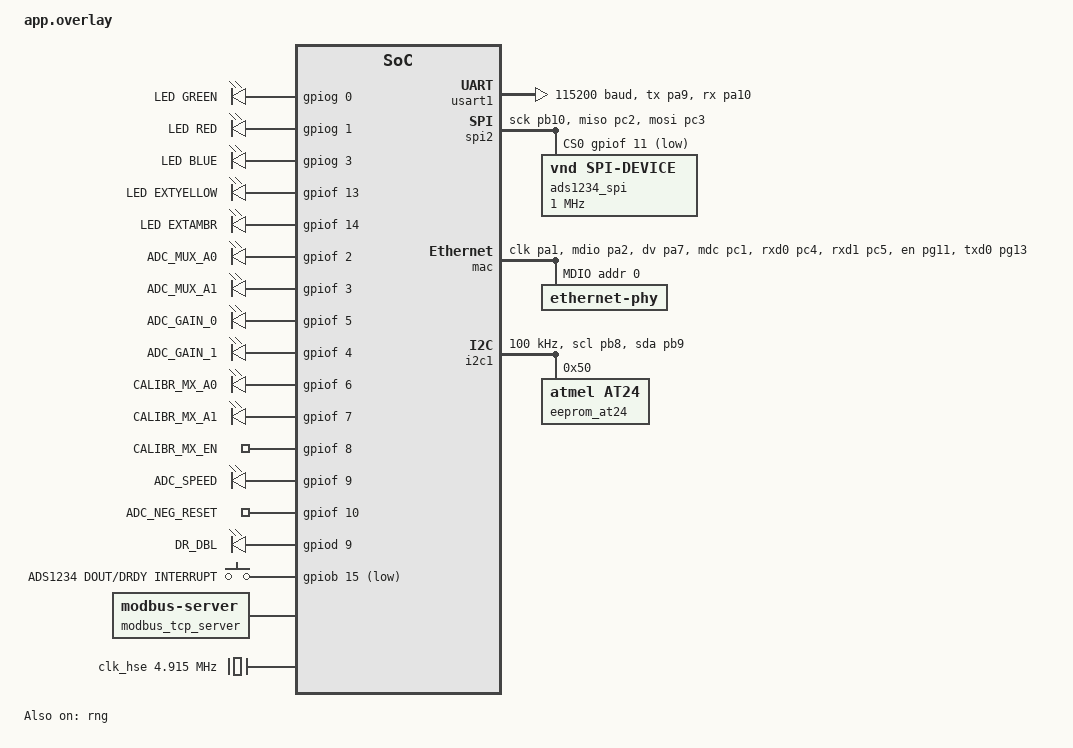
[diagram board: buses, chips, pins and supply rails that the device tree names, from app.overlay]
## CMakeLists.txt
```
# SPDX-License-Identifier: Apache-2.0
#cmake_minimum_required(VERSION 3.20.0)
#find_package(Zephyr REQUIRED HINTS $ENV{ZEPHYR_BASE})
#project(blinky)
#target_sources(app PRIVATE src/main.c)


cmake_minimum_required(VERSION 3.20.0)
# Указываем плату по умолчанию для этого проекта
set(BOARD nucleo_f756zg)
find_package(Zephyr REQUIRED HINTS $ENV{ZEPHYR_BASE})
project(HallFM)
#target_sources(app PRIVATE src/main.c)
target_sources(app PRIVATE
    src/main.cpp
    src/board_devs.cpp
 #   src/leds/leds.c
    src/leds/gpo.cpp
    src/adc/ads1234.cpp
    src/adc/adc_sequencer.cpp
    src/time/uni_time.cpp
    src/modbus/mbs.cpp
    src/console/console.cpp
    src/mem/mem.cpp
)
# Добавляем ПАПКИ к хидерам, а не сами файлы!
target_include_directories(app PRIVATE 
    src              # Здесь лежит board_devs.hpp
    src/leds         # Здесь лежат leds.h и gpo.hpp
    src/adc          # Здесь лежит adc.hpp
    src/time
    src/modbus
    src/console
    src/mem
)
```

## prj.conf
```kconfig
#prj.cjnf v7stabil-260902
CONFIG_SPI=y
CONFIG_SPI_STM32=y
CONFIG_PINCTRL=y
CONFIG_DMA=y
CONFIG_SPI_ASYNC=y

CONFIG_SERIAL=y
CONFIG_CONSOLE=y
CONFIG_UART_CONSOLE=y

# Включаем подсистему высокоуровневого ввода
CONFIG_CONSOLE_SUBSYS=y
CONFIG_CONSOLE_GETLINE=y

# Включаем сетевую подсистему и драйвер Ethernet stm32
#

#CONFIG_NET_L2_ETHERNET=y
#CONFIG_ETH_STM32_HAL=y
# Базовые настройки IP-стека
#CONFIG_NETWORKING=y
#CONFIG_NET_IPV4=y
#CONFIG_NET_TCP=y


# Базовые настройки IP-стека
CONFIG_NETWORKING=y
CONFIG_NET_L2_ETHERNET=y
CONFIG_ETH_STM32_HAL=y
CONFIG_NET_IPV4=y
CONFIG_NET_TCP=y

# ВКЛЮЧАЕМ DHCPv4
CONFIG_NET_DHCPV4=y
# Переводим менеджер сетевой конфигурации в автоматический режим
CONFIG_NET_CONFIG_SETTINGS=y

# Запрещаем Zephyr использовать статические тестовые IP-адреса по умолчанию (192.0.2.1)
CONFIG_NET_CONFIG_MY_IPV4_ADDR=""
CONFIG_NET_CONFIG_PEER_IPV4_ADDR=""

# 1. Включаем общую поддержку текстовых имен для платы
CONFIG_NET_HOSTNAME_ENABLE=y
CONFIG_NET_HOSTNAME="hallm00"

# 2. Активируем Подход 3: заставляем DHCP-клиент передавать это имя роутеру
#CONFIG_NET_DHCPV4_OPTION_HOSTNAME=y

# 3. Активируем Подход 2: включаем службу mDNS (multicast DNS)
CONFIG_MDNS_RESPONDER=y

# Включаем менеджер сетевых интерфейсов и событий (нужен для отслеживания IP)
#CONFIG_NET_MGMT=y
#CONFIG_NET_MGMT_EVENT=y


# Эти параметры статического IP больше НЕ НУЖНЫ, удаляем или комментируем их:
# CONFIG_NET_CONFIG_SETTINGS=n
#
# Статический IP (удобно для тестов Modbus)
#CONFIG_NET_CONFIG_SETTINGS=y
#CONFIG_NET_CONFIG_NEED_IPV4=y
#CONFIG_NET_CONFIG_MY_IPV4_ADDR="192.168.1.97"
#CONFIG_NET_CONFIG_MY_IPV4_NETMASK="255.255.255.0"

# Включаем подсистему энтропии и драйвер аппаратного RNG STM32
CONFIG_ENTROPY_GENERATOR=y
CONFIG_ENTROPY_STM32_RNG=y

# Разрешаем сетевому стеку использовать генератор случайных чисел
CONFIG_TEST_RANDOM_GENERATOR=n


# Проверяем, что Modbus сконфигурирован правильно под сетевой стек
#CONFIG_MODBUS_RAW_ADU=y
#==
# 1. Защита драйвера STM32 Ethernet (выделяем больше аппаратных буферов)
#CONFIG_ETH_STM32_HAL_RX_BUFFERS=8
#CONFIG_ETH_STM32_HAL_TX_BUFFERS=8
# Включаем сетевые буферы и увеличиваем их количество под TCP
CONFIG_NET_PKT_RX_COUNT=64
CONFIG_NET_PKT_TX_COUNT=32

CONFIG_NET_BUF_RX_COUNT=160
CONFIG_NET_BUF_TX_COUNT=64

CONFIG_NET_BUF_DATA_SIZE=128


# 3. Настройка очистки памяти (КРИТИЧЕСКИ ВАЖНО)
# Ускоряем уничтожение закрытых контекстов сокетов, чтобы память возвращалась в пул мгновенно
CONFIG_NET_TCP_TIME_WAIT_DELAY=500

# 4. Включаем автоматический сброс при нехватке памяти (если стек поддерживает)
CONFIG_NET_STATISTICS=y

# Максимальное число сетевых контекстов и соединений
#CONFIG_NET_MAX_CONTEXTS=8
#CONFIG_NET_MAX_CONN=8

# Максимальное число сетевых контекстов, сокетов и TCP-соединений
CONFIG_NET_MAX_CONTEXTS=16
CONFIG_NET_MAX_CONN=16
# Максимальное число сетевых контекстов, сокетов и TCP-соединений
CONFIG_NET_MAX_CONTEXTS=16
CONFIG_NET_MAX_CONN=16
# Увеличиваем количество дескрипторов сокетов POSIX (под функции socket, accept, close)
CONFIG_NET_SOCKETS_POLL_MAX=16
CONFIG_POSIX_API=y
# Увеличиваем количество дескрипторов сокетов POSIX (под функции socket, accept, close)
CONFIG_NET_SOCKETS_POLL_MAX=16
CONFIG_POSIX_API=y


# Выделяем оперативную память под стек обработки входящих пакетов
CONFIG_NET_MGMT_EVENT_STACK_SIZE=2048
CONFIG_NET_RX_STACK_SIZE=2048


#==
# Включаем подсистему Modbus и роль сервера
CONFIG_MODBUS=y
CONFIG_MODBUS_ROLE_SERVER=y
CONFIG_MODBUS_LOG_LEVEL_DBG=y
# Исправленные конфигурации для Modbus TCP 
CONFIG_MODBUS_RAW_ADU=y
CONFIG_MODBUS_NUMOF_RAW_ADU=1


#=========
# CONFIG_MODBUS=y
# CONFIG_MODBUS_SERVER=y
# CONFIG_MODBUS_RAW_ADU=y

#=========


# Разрешить немедленно переиспользовать TCP-порт (502) после закрытия
CONFIG_NET_TCP_TIME_WAIT_DELAY=1000
# Увеличить размер приемного окна TCP (чтобы сокет мог вместить больше пакетов-повторов)
CONFIG_NET_TCP_MAX_RECV_WINDOW_SIZE=1280

# Активируем BSD-совместимый API сокетов в Zephyr
CONFIG_NET_SOCKETS=y
CONFIG_NET_SOCKETS_POSIX_NAMES=y

# Настройки системного лога
CONFIG_LOG=y
# Переводим логи в безопасный АСИНХРОННЫЙ режим (по умолчанию в Zephyr он обычно включен, но лучше зафиксировать)
CONFIG_LOG_MODE_DEFERRED=y
CONFIG_LOG_BUFFER_SIZE=2048
CONFIG_NET_LOG=n

#CONFIG_CPP=y
#CONFIG_STD_CPP17=y # Или CPP17 / CPP23 в зависимости от версии Zephyr
# Включение поддержки C++ в Zephyr RTOS
CONFIG_CPP=y

# Выбор стандарта языка (рекомендуется CPP20 для полноценной работы)
CONFIG_STD_CPP20=y

# Разрешить использование базовых функций стандартной библиотеки C++
CONFIG_GLIBCXX_LIBCPP=y

CONFIG_SHELL=y
CONFIG_NEWLIB_LIBC_FLOAT_PRINTF=y 
CONFIG_FPU=y 

# Активация подсистемы I2C и драйвера STM32
CONFIG_I2C=y
CONFIG_I2C_STM32=y

# Активация подсистемы EEPROM и универсального драймера AT24
CONFIG_EEPROM=y
CONFIG_EEPROM_AT24=y

CONFIG_CPP_EXCEPTIONS=n



# Включаем механизм TCP Keep-Alive (Крайне важно!)
# Если клиент пропал или связь моргнула, Zephyr сам проверит сокет и закроет его,
# не дожидаясь, пока буферы переполнятся.
# CONFIG_NET_TCP_KEEP_ALIVE=y
# CONFIG_NET_TCP_KEEP_ALIVE_TIMEOUT=5000
# CONFIG_NET_TCP_KEEP_ALIVE_INTERVAL=1000
# CONFIG_NET_TCP_KEEP_ALIVE_MAX_COUNT=3

# Явно задаем приоритет внутреннего потока Modbus (сделайте его высоким)
# CONFIG_MODBUS_THREAD_PRIORITY=4

# Активируем сетевой бэкенд Modbus (мост между сокетами и Modbus API)
#CONFIG_MODBUS_SERVER_NET=y

# Явно задаем порт по умолчанию (хотя 502 применится и сам)
#CONFIG_MODBUS_SERVER_PORT=502

# Включаем консоль управления (Shell) и сетевые команды
#CONFIG_SHELL=y
#CONFIG_NET_SHELL=y

# Дополнительные логи для отладки Ethernet и PHY-чипа
#CONFIG_NET_LOG=y
#CONFIG_ETHERNET_LOG_LEVEL_DBG=y










#== Console and UART
#CONFIG_CONSOLE=y
#CONFIG_CONSOLE_SUBSYS=y
#CONFIG_CONSOLE_GETCHAR=y
#CONFIG_UART_CONSOLE=y
#CONFIG_SERIAL=y
#CONFIG_UART_INTERRUPT_DRIVEN=y

#== GPIO
#CONFIG_GPIO=y

#== SPI configuration
#CONFIG_SPI=y
#CONFIG_SPI_STM32=y
#CONFIG_SPI_STM32_INTERRUPT=y
# CONFIG_SPI_CONTEXT_CS_GPIOS_OPTIONAL=y

#== Logging
#CONFIG_LOG=y
#CONFIG_LOG_MODE_IMMEDIATE=y

#== Pin control
#ONFIG_PINCTRL=y
#==
# # Добавьте в prj.conf для отладки стека
# echo "CONFIG_THREAD_STACK_INFO=y" >> prj.conf
# echo "CONFIG_INIT_STACKS=y" >> prj.conf
# echo "CONFIG_STACK_SENTINEL=y" >> prj.conf
```

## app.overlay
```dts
#include <zephyr/dt-bindings/pinctrl/stm32-pinctrl.h>
/////////-----------UART4.1952---------

/////////-----------UART4.1952---------
/* app.overlay */

/* === НАСТРОЙКА ТАКТИРОВАНИЯ (ПОД КВАРЦ 4.9152 МГц) === */
&clk_hse {
    clock-frequency = <4915200>;
    status = "okay";
};

&pll {
    div-m = <4>;           /* 4.9152 / 4 = 1.2288 MHz */
    mul-n = <320>;         /* 1.2288 * 320 = 393.216 MHz */
    div-p = <2>;           /* 393.216 / 2 = 196.608 MHz (SYSCLK) */
    div-q = <8>;           /* Значение для USB (не используется) */

    clocks = <&clk_hse>;
    status = "okay";
};

&rcc {
    clocks = <&pll>;
    clock-frequency = <196608000>; /* Итоговый SYSCLK */

    ahb-prescaler = <1>;   /* HCLK = 196.608 MHz */
    apb1-prescaler = <4>;  /* PCLK1 = 49.152 MHz */
    apb2-prescaler = <2>;  /* PCLK2 = 98.304 MHz (Тактирует ваш USART1) */
};


// === НАСТРОЙКА ПЕРИФЕРИИ И КОНСОЛИ ===

// 1. Настраиваем мультиплексирование ножек (Pin Control)
&pinctrl {
    usart1_tx_pa9: usart1_tx_pa9 {
        pinmux = <STM32_PINMUX('A', 9, AF7)>; /* PA9 как Alternate Function 7 (UART1_TX) */
    };
    usart1_rx_pa10: usart1_rx_pa10 {
        pinmux = <STM32_PINMUX('A', 10, AF7)>; /* PA10 как AF7 (UART1_RX) */
        bias-pull-up; /* Включаем подтяжку для линии RX */
    };
};

/* 2. Активируем сам UART1 и привязываем к нему пины */
&usart1 {
    status = "okay";
    current-speed = <115200>;
    pinctrl-0 = <&usart1_tx_pa9 &usart1_rx_pa10>;
    pinctrl-names = "default";
};

/* 3. Говорим Zephyr, что этот UART должен использоваться для консоли (printk) */
/ {
    chosen {
        zephyr,console = &usart1;
        zephyr,shell-uart = &usart1;
    };
};
////////////////////////////////////////////

/* Включаем DMA1 — он не помешает, так как в &spi2 мы его не привязываем */

&dma1 {
	status = "okay";
};

/* Дописываем пины ВНУТРЬ системного контроллера pinctrl */
&pinctrl {
    /* Плоский узел для тактового сигнала */
    spi2_sck_pb10: spi2_sck_pb10 {
        pinmux = <STM32_PINMUX('B', 10, AF5)>;
        drive-push-pull;
	bias-pull-down;
        slew-rate = "very-high-speed";
    };

    /* Плоский узел для входа данных (MISO) */
    spi2_miso_pc2: spi2_miso_pc2 {
        pinmux = <STM32_PINMUX('C', 2, AF5)>;
        bias-disable; /* Для входа MISO лучше выключить push-pull */
    };

    /* Плоский узел для выхода данных (MOSI) */
    spi2_mosi_pc3: spi2_mosi_pc3 {
        pinmux = <STM32_PINMUX('C', 3, AF5)>;
        drive-push-pull;
        slew-rate = "very-high-speed";
    };
};

&spi2 {
	status = "okay";

	/* МАГИЯ ЗДЕСЬ: Перечисляем все три кастомных узла через пробел! */
	/* Zephyr инициализирует их одновременно для одной шины SPI2 */
	pinctrl-0 = <&spi2_sck_pb10 &spi2_miso_pc2 &spi2_mosi_pc3>;
	pinctrl-names = "default";

	/* Ваш кастомный пин CS. Укажите ваш реальный порт/номер ножки */
	cs-gpios = <&gpiof 11 GPIO_ACTIVE_LOW>;

	ads1234_spi: ads1234_spi@0 {
		compatible = "vnd,spi-device";
		reg = <0>;
		spi-max-frequency = <1000000>;
	};
};


/* 1. Убеждаемся, что контроллер порта G включен */
&gpiof {
	status = "okay";
};

&gpiog {
	status = "okay";
};

&gpiod {
	status = "okay";
};



/ {
	 //Имя контейнера делаем тоже понятным и без префикса "my"
	status_leds {
		compatible = "gpio-leds";

		led_green: led-green {
			gpios = <&gpiog 0 GPIO_ACTIVE_HIGH>;
//			gpios = <&gpiob 0 GPIO_ACTIVE_HIGH>;
			label = "LED GREEN";
		};

		led_red: led-red {
			gpios = <&gpiog 1 GPIO_ACTIVE_HIGH>;
//			gpios = <&gpiob 7 GPIO_ACTIVE_HIGH>;
			label = "LED RED";
		};

		led_blue: led-blue {
			gpios = <&gpiog 3 GPIO_ACTIVE_HIGH>;
//			gpios = <&gpiob 14 GPIO_ACTIVE_HIGH>;
			label = "LED BLUE";
		};

		led_yellowext: led-yellowext{
			gpios = <&gpiof 13 GPIO_ACTIVE_HIGH>;
			label = "LED EXTYELLOW";
		};

		led_ambrext: led-ambrext {
			gpios = <&gpiof 14 GPIO_ACTIVE_HIGH>;
			label = "LED EXTAMBR";
		};

        ad_mx_0: ad-mx-0 {
			gpios = <&gpiof 2 GPIO_ACTIVE_HIGH>;
			label = "ADC_MUX_A0";
		};

        ad_mx_1: ad-mx-1 {
			gpios = <&gpiof 3 GPIO_ACTIVE_HIGH>;
			label = "ADC_MUX_A1";
		};

        ad_g_0: ad-g-0 {
			gpios = <&gpiof 5 GPIO_ACTIVE_HIGH>;
			label = "ADC_GAIN_0";
		};

        ad_g_1: ad-g-1 {
			gpios = <&gpiof 4 GPIO_ACTIVE_HIGH>;
			label = "ADC_GAIN_1";
		};

        cb_mx_0: cb-mx-0 {
			gpios = <&gpiof 6 GPIO_ACTIVE_HIGH>;
			label = "CALIBR_MX_A0";
		};

        cb_mx_1: cb-mx-1 {
			gpios = <&gpiof 7 GPIO_ACTIVE_HIGH>;
			label = "CALIBR_MX_A1";
		};

        cb_mx_en: cb-mx-en {
			gpios = <&gpiof 8 GPIO_ACTIVE_HIGH>;
			label = "CALIBR_MX_EN";
		};

        ad_speed: ad-speed {
			gpios = <&gpiof 9 GPIO_ACTIVE_HIGH>;
			label = "ADC_SPEED";
		};

        ad_rst_n: ad-rst-n {
			gpios = <&gpiof 10 GPIO_ACTIVE_HIGH>;
			label = "ADC_NEG_RESET";
		};
	dr_dbl: dr-dbl {
			gpios = <&gpiod 9 GPIO_ACTIVE_HIGH>;
			label = "DR_DBL";
		};

	};
};
/* Активируем порт B микроконтроллера */
&gpiob {
	status = "okay";
};

/ {
	/* Группа для входных пинов и кнопок */
	uc_inputs {
		compatible = "gpio-keys";

		/* Имя ноды для EXTI прерывания (PB15) */
		ad_drdy: ad-drdy {
			/* Настройка: порт B, пин 15. Флаг ACTIVE_LOW означает, */
			/* что логическим считается нулевой уровень (спад) */
			gpios = <&gpiob 15 GPIO_ACTIVE_LOW>;
			label = "ADS1234 DOUT/DRDY INTERRUPT";
		};
	};
};
///---727-4
/* 1. Назначаем пины на контроллер MAC */
&mac {
	status = "okay";
	pinctrl-0 = <
		&eth_ref_clk_pa1
		&eth_mdio_pa2
		&eth_crs_dv_pa7
		&eth_mdc_pc1
		&eth_rxd0_pc4
		&eth_rxd1_pc5
		&eth_tx_en_pg11
		&eth_txd0_pg13
		&eth_txd1_pb13
	>;
	pinctrl-names = "default";

	/* 2. Настраиваем внутренний узел MDIO, не используя глобальную метку */
	mdio {
		status = "okay";
/* Явно задаем формат адресации для PHY: 1 ячейка на адрес, 0 на размер */
		#address-cells = <1>;
		#size-cells = <0>;
		ethernet-phy@0 {
			compatible = "ethernet-phy";
			reg = <0>;
		};
	};
};
/* Активируем встроенный аппаратный генератор случайных чисел */
&rng {
	status = "okay";
};

/* Объявляем Modbus TCP сервер на уровне Devicetree */
/ {
	modbus_tcp_server: modbus_tcp_server {
		compatible = "zephyr,modbus-server";
		status = "okay";
	};
};

//===========i2c==================
&i2c1 {
	status = "okay";
	/* Используем готовые константы пинов из ядра Zephyr */
	pinctrl-0 = <&i2c1_scl_pb8 &i2c1_sda_pb9>;
	pinctrl-names = "default";

	/* Задаем стандартную скорость шины 100 кГц (или 400000 для Fast Mode) */
	clock-frequency = <I2C_BITRATE_STANDARD>;

	/* Объявляем вашу микросхему EEPROM */
	eeprom_at24: eeprom@50 {
		compatible = "atmel,at24";
		reg = <0x50>;          /* Семь бит I2C-адреса чипа (обычно 0x50 для AT24) */
		size = <2048>;         /* Общий объем памяти чипа AT24C16 в байтах (16 Кбит = 2048 байт) */
		pagesize = <16>;       /* Размер страницы записи в байтах для AT24C16 */
		address-width = <8>;   /* Ширина внутреннего адреса (у AT24C16 адрес равен 8 битам) */
		timeout = <5>;         /* Тайм-аут записи чипа в миллисекундах */
	};
};




///--727-3
/* 1. Настраиваем альтернативные функции пинов, используя ГОТОВЫЕ системные метки ST */
// &mac {
// 	status = "okay";
// 	pinctrl-0 = <
// 		&eth_ref_clk_pa1
// 		&eth_mdio_pa2
// 		&eth_crs_dv_pa7
// 		&eth_mdc_pc1
// 		&eth_rxd0_pc4
// 		&eth_rxd1_pc5
// 		&eth_tx_en_pg11
// 		&eth_txd0_pg13
// 		&eth_txd1_pb13
// 	>;
// 	pinctrl-names = "default";
// };

// /* 2. Активируем встроенную шину MDIO и указываем PHY-адрес */
// &mdio {
// 	status = "okay";

// 	ethernet-phy@0 {
// 		compatible = "ethernet-phy";
// 		reg = <0>;
// 	};
// };





///-----727-2

/* 1. Переопределяем пины платы, если они отличаются, либо используем эти кастомные */
// &pinctrl {
// 	my_eth_ref_clk: my_eth_ref_clk { pinmux = <STM32_PINMUX('A', 1, AF11)>; };
// 	my_eth_mdio: my_eth_mdio { pinmux = <STM32_PINMUX('A', 2, AF11)>; };
// 	my_eth_crs_dv: my_eth_crs_dv { pinmux = <STM32_PINMUX('A', 7, AF11)>; };
// 	my_eth_mdc: my_eth_mdc { pinmux = <STM32_PINMUX('C', 1, AF11)>; };
// 	my_eth_rxd0: my_eth_rxd0 { pinmux = <STM32_PINMUX('C', 4, AF11)>; };
// 	my_eth_rxd1: my_eth_rxd1 { pinmux = <STM32_PINMUX('C', 5, AF11)>; };
// 	my_eth_tx_en: my_eth_tx_en { pinmux = <STM32_PINMUX('G', 11, AF11)>; };
// 	my_eth_txd0: my_eth_txd0 { pinmux = <STM32_PINMUX('G', 13, AF11)>; };
// 	my_eth_txd1: my_eth_txd1 { pinmux = <STM32_PINMUX('B', 13, AF11)>; };
// };

// /* 2. Достраиваем родной узел &mac, который уже есть в плате nucleo_f756zg */
// &mac {
// 	status = "okay";
// 	pinctrl-0 = <
// 		&my_eth_ref_clk
// 		&my_eth_crs_dv
// 		&my_eth_rxd0
// 		&my_eth_rxd1
// 		&my_eth_tx_en
// 		&my_eth_txd0
// 		&my_eth_txd1
// 	>;
// 	pinctrl-names = "default";
// 	phy-connection-type = "rmii";

// 	/* Привязываем к нашему новому PHY */
// 	phy-handle = <&phy0>;

// 	/* Добавляем блок MDIO, которого не хватало в файле платы */
// 	mdio {
// 		compatible = "st,stm32-mdio";
// 		status = "okay";
// 		#address-cells = <1>;
// 		#size-cells = <0>;

// 		pinctrl-0 = <&my_eth_mdc &my_eth_mdio>;
// 		pinctrl-names = "default";

// 		phy0: ethernet-phy@0 {
// 			compatible = "ethernet-phy";
// 			reg = <0>; /* Аппаратный адрес LAN8742 */
// 			status = "okay";
// 		};
// 	};
// };



////=====727-2



/////-----727-1

/* Сначала полностью удаляем оригинальный узел mac со всей его логикой из dts платы */
// /delete-node/ &mac;

// /* Заново объявляем пины (если они вдруг очистились) */
// &pinctrl {
// 	my_eth_ref_clk: my_eth_ref_clk { pinmux = <STM32_PINMUX('A', 1, AF11)>; };
// 	my_eth_mdio: my_eth_mdio { pinmux = <STM32_PINMUX('A', 2, AF11)>; };
// 	my_eth_crs_dv: my_eth_crs_dv { pinmux = <STM32_PINMUX('A', 7, AF11)>; };
// 	my_eth_mdc: my_eth_mdc { pinmux = <STM32_PINMUX('C', 1, AF11)>; };
// 	my_eth_rxd0: my_eth_rxd0 { pinmux = <STM32_PINMUX('C', 4, AF11)>; };
// 	my_eth_rxd1: my_eth_rxd1 { pinmux = <STM32_PINMUX('C', 5, AF11)>; };
// 	my_eth_tx_en: my_eth_tx_en { pinmux = <STM32_PINMUX('G', 11, AF11)>; };
// 	my_eth_txd0: my_eth_txd0 { pinmux = <STM32_PINMUX('G', 13, AF11)>; };
// 	my_eth_txd1: my_eth_txd1 { pinmux = <STM32_PINMUX('B', 13, AF11)>; };
// };

// /* С нуля создаем узел mac вsoc-секции микроконтроллера */
// &soc {
// 	mac: ethernet@40028000 {
// 		compatible = "st,stm32-ethernet";
// 		reg = <0x40028000 0x1400>;
// 		interrupts = <61 0>;
// 		clock-names = "mac-clk", "mac-clk-tx", "mac-clk-rx";
// 		clocks = <&rcc STM32_CLOCK_BUS_AHB1 0x00000004>,
// 			 <&rcc STM32_CLOCK_BUS_AHB1 0x00000008>,
// 			 <&rcc STM32_CLOCK_BUS_AHB1 0x00000010>;
// 		status = "okay";

// 		pinctrl-0 = <
// 			&my_eth_ref_clk
// 			&my_eth_crs_dv
// 			&my_eth_rxd0
// 			&my_eth_rxd1
// 			&my_eth_tx_en
// 			&my_eth_txd0
// 			&my_eth_txd1
// 		>;
// 		pinctrl-names = "default";
// 		phy-connection-type = "rmii";
// 		phy-handle = <&phy0>;

// 		mdio {
// 			compatible = "st,stm32-mdio";
// 			status = "okay";
// 			#address-cells = <1>;
// 			#size-cells = <0>;
// 			pinctrl-0 = <&my_eth_mdc &my_eth_mdio>;
// 			pinctrl-names = "default";

// 			phy0: ethernet-phy@0 {
// 				compatible = "ethernet-phy";
// 				reg = <0>;
// 				status = "okay";
// 			};
// 		};
// 	};
// };
////======727-1

/* === ОФИЦИАЛЬНАЯ НАСТРОЙКА ETHERNET ДЛЯ NUCLEO-F756ZG === */
//-------727-0 bg
// &pinctrl {
// 	/* Используем стандартные пины Nucleo, обратите внимание на PA7 */
// 	my_eth_ref_clk: my_eth_ref_clk { pinmux = <STM32_PINMUX('A', 1, AF11)>; };
// 	my_eth_mdio: my_eth_mdio { pinmux = <STM32_PINMUX('A', 2, AF11)>; };
// 	my_eth_crs_dv: my_eth_crs_dv { pinmux = <STM32_PINMUX('A', 7, AF11)>; }; /* На Nucleo это PA7! */
// 	my_eth_mdc: my_eth_mdc { pinmux = <STM32_PINMUX('C', 1, AF11)>; };
// 	my_eth_rxd0: my_eth_rxd0 { pinmux = <STM32_PINMUX('C', 4, AF11)>; };
// 	my_eth_rxd1: my_eth_rxd1 { pinmux = <STM32_PINMUX('C', 5, AF11)>; };
// 	my_eth_tx_en: my_eth_tx_en { pinmux = <STM32_PINMUX('G', 11, AF11)>; };
// 	my_eth_txd0: my_eth_txd0 { pinmux = <STM32_PINMUX('G', 13, AF11)>; };
// 	my_eth_txd1: my_eth_txd1 { pinmux = <STM32_PINMUX('B', 13, AF11)>; };
// };
// &mac {
// 	status = "okay";

// 	/* Здесь оставляем ТОЛЬКО пины данных RMII */
// 	pinctrl-0 = <
// 		&my_eth_ref_clk
// 		&my_eth_crs_dv
// 		&my_eth_rxd0
// 		&my_eth_rxd1
// 		&my_eth_tx_en
// 		&my_eth_txd0
// 		&my_eth_txd1
// 	>;
///=========end 727-0

// 	pinctrl-names = "default";
// 	phy-connection-type = "rmii";
// 	phy-handle = <&phy0>;

// 	mdio {
// 	//	compatible = "st,stm32-mdio";
// 	/* Переносим пины MDC и MDIO сюда, выполняя требование yaml-файла */
// 	 	status = "okay";
// 		pinctrl-0 = <&my_eth_mdc &my_eth_mdio>;
// 		pinctrl-names = "default";

// 		#address-cells = <1>;
// 		#size-cells = <0>;
// 	//	status = "okay";


// 		phy0: ethernet-phy@0 {
// 			compatible = "ethernet-phy";
// 			reg = <0>;
// 			status = "okay";
// 		};
// 	};
// };

// &mac {
// 	status = "okay";
// 	phy-connection-type = "rmii";
// 	//phy-handle = <&ethernet_phy>;
// //	phy-handle = <&ethernet_phy>;
//  	phy-handle = <&phy0>;
// 	pinctrl-0 = <&my_eth_ref_clk &my_eth_crs_dv &my_eth_rxd0 &my_eth_rxd1 &my_eth_tx_en &my_eth_txd0 &my_eth_txd1>;
// //	pinctrl-0 = <&my_eth_ref_clk &my_eth_crs_dv &my_eth_rxd0 &my_eth_rxd1
// //	             &my_eth_tx_en &my_eth_txd0 &my_eth_txd1 &my_eth_mdio &my_eth_mdc>;
// 	pinctrl-names = "default";

// 	mdio {
// 		compatible = "st,stm32-mdio";
// 		#address-cells = <1>;
// 		#size-cells = <0>;
// 		status = "okay";
// 		pinctrl-0 = <&my_eth_mdio &my_eth_mdc>;
// 		pinctrl-names = "default";

// 		/* Прописываем PHY на адрес 0, который использует Nucleo */
// 		phy0: ethernet-phy@0 {
//             		compatible = "ethernet-phy";
//            		 /* Адрес PHY. У LAN8742 на готовых платах (например, Nucleo)
//            		    он чаще всего равен 0. Если у вас своя плата, проверьте
//            		    подтяжку пина PHYAD0 (может быть 1) */
//          		   reg = <0>;
//           		  status = "okay";
//       		  };
// 		// ethernet_phy: ethernet-phy@0 {
// 		// 	compatible = "ethernet-phy";
// 		// 	reg = <0>;
// 		// 	status = "okay";
// 		// };
// 	};
// };



// &mac {
// 	status = "okay";
// 	/* Подключаем ваш pinctrl */
// 	pinctrl-0 = <
// 		&my_eth_ref_clk
// 		&my_eth_mdio
// 		&my_eth_crs_dv
// 		&my_eth_mdc
// 		&my_eth_rxd0
// 		&my_eth_rxd1
// 		&my_eth_tx_en
// 		&my_eth_txd0
// 		&my_eth_txd1
// 	>;
// 	pinctrl-names = "default";
// 	phy-connection-type = "rmii";

// 	/* Ссылка на узел phy0, описанный ниже */
// 	phy-handle = <&phy0>;

// 	/* Для STM32 в Zephyr блок mdio ДОЛЖЕН иметь compatible */
// 	mdio {
// 		compatible = "st,stm32-mdio";
// 		#address-cells = <1>;
// 		#size-cells = <0>;
// 		status = "okay";

// 		phy0: ethernet-phy@0 {
// 			compatible = "ethernet-phy";
// 			/* reg - это аппаратный адрес PHY (от 0 до 31).
// 			   У LAN8742 чаще всего это 0. Если не заведется, попробуйте 1 */
// 			reg = <0>;
// 			status = "okay";
// 		};
// 	};
// };

		// //===========================
		// /* 1. Переопределяем пины платы, если они отличаются, либо используем эти кастомные */
		// &pinctrl {
		// 	my_eth_ref_clk: my_eth_ref_clk { pinmux = <STM32_PINMUX('A', 1, AF11)>; };
		// 	my_eth_mdio: my_eth_mdio { pinmux = <STM32_PINMUX('A', 2, AF11)>; };
		// 	my_eth_crs_dv: my_eth_crs_dv { pinmux = <STM32_PINMUX('A', 7, AF11)>; };
		// 	my_eth_mdc: my_eth_mdc { pinmux = <STM32_PINMUX('C', 1, AF11)>; };
		// 	my_eth_rxd0: my_eth_rxd0 { pinmux = <STM32_PINMUX('C', 4, AF11)>; };
		// 	my_eth_rxd1: my_eth_rxd1 { pinmux = <STM32_PINMUX('C', 5, AF11)>; };
		// 	my_eth_tx_en: my_eth_tx_en { pinmux = <STM32_PINMUX('G', 11, AF11)>; };
		// 	my_eth_txd0: my_eth_txd0 { pinmux = <STM32_PINMUX('G', 13, AF11)>; };
		// 	my_eth_txd1: my_eth_txd1 { pinmux = <STM32_PINMUX('B', 13, AF11)>; };
		// };

		// /* 2. Достраиваем родной узел &mac, который уже есть в плате nucleo_f756zg */
		// &mac {
		// 	status = "okay";
		// 	pinctrl-0 = <
		// 		&my_eth_ref_clk
		// 		&my_eth_crs_dv
		// 		&my_eth_rxd0
		// 		&my_eth_rxd1
		// 		&my_eth_tx_en
		// 		&my_eth_txd0
		// 		&my_eth_txd1
		// 	>;
		// 	pinctrl-names = "default";
		// 	phy-connection-type = "rmii";

		// 	/* Привязываем к нашему новому PHY */
		// 	phy-handle = <&phy0>;

		// 	/* Добавляем блок MDIO, которого не хватало в файле платы */
		// 	mdio {
		// 		compatible = "st,stm32-mdio";
		// 		status = "okay";
		// 		#address-cells = <1>;
		// 		#size-cells = <0>;

		// 		pinctrl-0 = <&my_eth_mdc &my_eth_mdio>;
		// 		pinctrl-names = "default";

		// 		phy0: ethernet-phy@0 {
		// 			compatible = "ethernet-phy";
		// 			reg = <0>; /* Аппаратный адрес LAN8742 */
		// 			status = "okay";
		// 		};
		// 	};
		// };
```

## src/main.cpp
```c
// #include <zephyr/kernel.h>
// #include <zephyr/device.h>
// #include <zephyr/drivers/spi.h>
//#include <zephyr/drivers/gpio.h>
#include <zephyr/sys/printk.h>
#include <zephyr/shell/shell.h>
#include <zephyr/console/console.h>
#include <stdio.h>


// #include <zephyr/net/net_if.h>
// #include <zephyr/net/socket.h>  /* Добавляем стандартные POSIX сокеты */
// #include <zephyr/modbus/modbus.h>
//#include <zephyr/logging/log.h>
//#include <string.h>
//#include <stdint.h>

// #include <zephyr/kernel.h>
// #include <zephyr/drivers/eeprom.h>
// #include <zephyr/device.h>

#include "board_devs.hpp"
#include "gpo.hpp"
#include "ads1234.hpp"
#include "adc_sequencer.hpp"
#include "mbs.hpp"
#include "console.hpp"
#include "abstract_mem.hpp"
#include "uni_time.hpp"

//The function that will be called when
// the user enters a command in the terminal
extern "C"{
    static int cmd_my_test(const struct shell *sh, size_t argc, char **argv)
    {
        Console* ctrl = getConsole();
        if (argc < 2) {
            shell_print(sh, "error: enter string after cmd");
            ctrl->printMenu();
            return -EINVAL;
        }
        ctrl->parser(argc, argv);
        // argv[1] — command argument
 //       printk("Recieved string: %s", argv[1]);
 //       for( int i = 2; i < argc; ++i)
 //           printk(" %s ", argv[i]);
 //       printk("\n");            

        return 0;
    }
}
//We register the “pr” command in the terminal.
SHELL_CMD_REGISTER(_, NULL, "Terminal String Process", cmd_my_test);

/* Получаем указатель на устройство EEPROM из дерева устройств по его метке */
//const struct device *eeprom_dev = DEVICE_DT_GET(DT_NODELABEL(eeprom_at24));

#define ADC_THREAD_PRIORITY 9
struct k_thread adc_thread_data;
K_KERNEL_STACK_MEMBER(adc_thread_stack, 2048); 
union timeToInt
{
    int64_t time;
    int32_t dw[2];
};

static const unsigned int TIME_SIZE = sizeof(timeToInt)/sizeof(int32_t);
void adc_thread_entry(void *arg1, void *arg2, void *arg3)
{
    AdcSequencer* sqr = getAdcSequencer();
    GPO* grn = getGreenLED();
    GPO* extY = getExtYellowLED();
    sqr->start();
    k_msleep(1200);
//    adData size is number of ADC chanal + size of time in doubleWords  
    int32_t adData[TEMPERATURE + 1 + TIME_SIZE];
    timeToInt sTime;
 
    while(1) 
    {
        grn->toggle();
        extY->toggle();
        sTime.time = sqr->getDataT(adData, HALL_SENS_L, TEMPERATURE);
        sqr->getData(adData, HALL_SENS_L, TEMPERATURE);
        adData[TEMPERATURE + 1] = sTime.dw[1];
        adData[TEMPERATURE + 2] = sTime.dw[0];
        refresh_input_regs(adData, HALL_SENS_L,  TEMPERATURE + TIME_SIZE);
        k_msleep(6000);
    }

}

int main(void)
{
    int ret;
    //We’ll quickly copy the holding registers here
    ctlHR  regHCtl;
    uint16_t  autoClbT;

    modbus_start();
    while(isListen() == false)
        k_msleep(20);

    GPO* yellow = getYellowLED();
    k_msleep(100);
    k_tid_t adc_tid = k_thread_create(&adc_thread_data,
                                          adc_thread_stack,
                                          K_THREAD_STACK_SIZEOF(adc_thread_stack),
										  adc_thread_entry,
                                          NULL, NULL, NULL,
                                          ADC_THREAD_PRIORITY,
                                          0,
                                          K_NO_WAIT); // Старт немедленно

    if (adc_tid)
        printk("adc thread created.\n");

    printk("--26A19-x2x  System started. type '_ <your_string>'in terminal.\n");
    k_msleep(100);
    Console* cnsl = getConsole();
    cnsl->printVersion();
    cnsl->printNews();
    cnsl->printMenu();
    AdcSequencer* adSqr = getAdcSequencer();
    while(true)
    {           
        yellow->toggle();
        k_msleep(500);
        // autoClbT =  clbTimeRd(); //==uncomment for autoclb
        // adSqr->autoClbSetT(autoClbT);
        regHCtl.word = getControlHR();
//        printk("ctlRg=%d -- ", regHCtl.word);
        if(regHCtl.b.startClb != 0)
        {
             adSqr->calibrateStart();
             while(adSqr->isClbDone() == false)                             
                 k_msleep(20);                  
             regHCtl.word = getControlHR();//to get the correct value
             regHCtl.b.startClb = 0;
             setControlHR(regHCtl.word);
        }  
//        (regHCtl.b.clbAutoEn == 0)? adSqr->autoClbDisable() : adSqr->autoClbEnable(); //==uncomment for autoclb
        //printk("=%d \n", regHCtl.word);
             
    }
    return 0;
}

//#define MB_THREAD_STACK_SIZE 2048
// #define MB_THREAD_PRIORITY 1

// static struct k_mutex adc_data_mutex;

// LOG_MODULE_REGISTER(main, LOG_LEVEL_INF);

// #define MODBUS_H_REGS_COUNT 10
// #define MODBUS_IN_REGS_COUNT 16
// static uint16_t holding_regs[MODBUS_H_REGS_COUNT] = {0, 11, 22, 33, 44, 55, 66, 77, 88, 99};
// static uint16_t input_regs[MODBUS_IN_REGS_COUNT] = {0, 1, 2, 3, 4, 5, 6, 7, 8, 9, 10, 11, 12, 13, 14, 15};

// #define MODBUS_TCP_MAX_ADU_SIZE 260
// static uint8_t mrx_buf[MODBUS_TCP_MAX_ADU_SIZE];
// static uint8_t mtx_buf[MODBUS_TCP_MAX_ADU_SIZE];
// /* Глобальная переменная для хранения дескриптора текущего активного TCP-клиента */
// static int active_client_fd = -1;
// /* 1. Коллбеки чтения/записи регистров */
// static int holding_reg_rd_cb(uint16_t addr, uint16_t *reg)
// {
//     if (addr >= MODBUS_H_REGS_COUNT) { return -EINVAL; }
//     *reg = holding_regs[addr];
//     LOG_INF("Modbus Read: Reg[%d] = %d", addr, *reg);
//     return 0;
// }

// static int holding_reg_wr_cb(uint16_t addr, uint16_t reg)
// {
//     if (addr >= MODBUS_H_REGS_COUNT) { return -EINVAL; }
//     holding_regs[addr] = reg;
//     LOG_INF("Modbus Write: Reg[%d] -> %d", addr, reg);
//     return 0;
// }

// static int input_reg_rd_cb(uint16_t addr, uint16_t *reg)
// {
//     if (addr >= MODBUS_IN_REGS_COUNT) { return -EINVAL; }
//     k_mutex_lock(&adc_data_mutex, K_FOREVER);
//     *reg = input_regs[addr];
//     k_mutex_unlock(&adc_data_mutex);      
//     LOG_INF("Modbus inpReg Read: Reg[%d] = %d", addr, *reg);
//     return 0;
// }

// static struct modbus_user_callbacks mbs_cbs = {
//     .input_reg_rd =   input_reg_rd_cb,
//     .holding_reg_rd = holding_reg_rd_cb,
//     .holding_reg_wr = holding_reg_wr_cb,
// };

// /* 2. КЛЮЧЕВОЙ КОЛЛБЕК: Сюда сервер Zephyr отдает готовый ответный пакет Modbus TCP */
// static int modbus_raw_tx_callback(int iface, const struct modbus_adu *adu, void *user_data)
// //static int modbus_raw_tx_callback(const int iface, const struct modbus_adu *adu)
// {
//     if (active_client_fd < 0) {
//         return -ENOTCONN;
//     }

//     /* Собираем заголовок MBAP ответа прямо в буфер отправки */
//     modbus_raw_put_header(adu, mtx_buf);
    
//     /* Дописываем Unit ID, Function Code и данные */
//     mtx_buf[6] = adu->unit_id;
//     mtx_buf[7] = adu->fc;
    
//     if (adu->length > 0) {
//         memcpy(&mtx_buf[8], adu->data, adu->length);
//     }

//     /* Итоговый размер: 7 байт MBAP/UnitID + 1 байт FC + длина данных */
//     size_t tx_len = 7 + 1 + adu->length;

//     /* Отправляем сформированный сервером Modbus ответ обратно в TCP-сокет */
//     int bytes_sent = send(active_client_fd, mtx_buf, tx_len, 0);
//     if (bytes_sent < 0) {
//         LOG_ERR("Failed to send Modbus TCP response (errno %d)", errno);
//         return -EIO;
//     }
//     return 0;
// }

// void mb_thread_entry(void *arg1, void *arg2, void *arg3)
// {
//     LOG_INF("Starting Modbus TCP Application...");
//     GPO* red = getRedLED();
//     struct modbus_iface_param param = {
//         .mode = MODBUS_MODE_RAW, 
//         .server = { 
//             .user_cb = &mbs_cbs, 
//             .unit_id = 1 
//         },
//         /* Инициализируем объединение (union) через структуру rawcb */
//         .rawcb = {
//             .raw_tx_cb = modbus_raw_tx_callback /* Перехватчик ответа сервера */
//         }
//     };
//     int ctx_num = modbus_init_server(0, param);
//     if (ctx_num < 0) 
//     {
//         LOG_ERR("Failed to init Modbus backend (err %d)", ctx_num);
//         return;
//     }
//     /* === СОЗДАЕМ TCP СЕРВЕР НА ПОРТУ 502 === */
//     int server_fd = socket(AF_INET, SOCK_STREAM, IPPROTO_TCP);
//     if (server_fd < 0) {
//         LOG_ERR("Failed to create socket! (%d)", errno);
//         return;
//     }

//     struct sockaddr_in bind_addr;// = {
//     //     .sin_family = AF_INET,
//     //     .sin_port = htons(502),
//     //     .sin_addr.s_addr = INADDR_ANY,
//     // };            
//     bind_addr.sin_family = AF_INET;
//     bind_addr.sin_port = htons(502);
//     bind_addr.sin_addr.s_addr = INADDR_ANY; // Теперь это корректное C++ присвоение

//     if (bind(server_fd, (struct sockaddr *)&bind_addr, sizeof(bind_addr)) < 0) {
//         LOG_ERR("Bind failed! (%d)", errno);
//         close(server_fd);
//         return;
//     }
//     if (listen(server_fd, 1) < 0)
//     {
//         LOG_ERR("Listen failed! (%d)", errno);
//         close(server_fd);
//         return;
//     }
//     LOG_INF("Modbus TCP Server listen port 502...");
//     while (1) 
//     {
//         struct sockaddr_in client_addr;
//         socklen_t client_addr_len = sizeof(client_addr);
        
//         int client_fd = accept(server_fd, (struct sockaddr *)&client_addr, &client_addr_len);
//         if (client_fd < 0) {
//             k_sleep(K_MSEC(10));
//             continue;
//         }
//         LOG_INF("QModMaster has connected to socket");     
//         /* Сохраняем дескриптор сокета, чтобы коллбек отправки знал, куда слать данные */
//         active_client_fd = client_fd;

//         while (1) 
//         {
//             holding_regs[0]++; 
//             int rc = recv(client_fd, mrx_buf, sizeof(mrx_buf), 0);
//             if (rc <= 0)
//             {
//                 LOG_INF("Master has disconnected");
//                 break;               
//             }
//             if (rc < 8) 
//                 continue;
//             holding_regs[1]++; 
//             struct modbus_adu adu;            
//             /* Разбираем входящий заголовок MBAP (первые 7 байт) */
//             modbus_raw_get_header(&adu, mrx_buf);           
//             /* Назначаем Unit ID (индекс 6) и Function Code (индекс 7) */
//             adu.unit_id = mrx_buf[6]; 
//             adu.fc = mrx_buf[7];
//             red->toggle();           
//             /* Длина PDU данных — всё, что идет после Function Code */
//             adu.length = rc - 8; 
            
//             /* Копируем чистые данные PDU во внутренний массив структуры adu */
//             if (adu.length <= sizeof(adu.data)) 
//             {
//                 if (adu.length > 0)
//                 {
//                     memcpy(adu.data, &mrx_buf[8], adu.length);
//                     holding_regs[2] += 2; 
//                 }
//             } 
//             else 
//                 continue;
//             /* ВЫЗОВ ИСПРАВЛЕН: Передаем СТРОГО 2 аргумента согласно сигнатуре Zephyr 3.7.1 */
//             /* Функция вернет 0, выполнит holding_reg_rd_cb и автоматически вызовет modbus_raw_tx_callback */
//             int err = modbus_raw_submit_rx(0, &adu);
//             if (err != 0) 
//                 LOG_ERR("Error submitting raw ADU: %d", err);
//         }      
//         close(client_fd);
//         active_client_fd = -1;
//     }   
//     close(server_fd);
// }

// K_THREAD_STACK_DEFINE(mb_thread_stack, MB_THREAD_STACK_SIZE);
// static struct k_thread mb_thread_data;


//==main()
//{
//
   // k_tid_t mb_tid = k_thread_create(&mb_thread_data,
    //                                     mb_thread_stack,
    //                                     K_THREAD_STACK_SIZEOF(mb_thread_stack),
    //                                     mb_thread_entry,
    //                                     NULL, NULL, NULL,
    //                                     MB_THREAD_PRIORITY,
    //                                     0,
    //                                     K_NO_WAIT); // Старт немедленно

    // if (mb_tid)
    //     printk("ModB thread created.\n");

//}
```

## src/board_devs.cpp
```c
#include "board_devs.hpp"
#include "gpo.hpp"

// Спецификация пина скрыта внутри .cpp файла
static const struct gpio_dt_spec red_spec = GPIO_DT_SPEC_GET(DT_NODELABEL(led_red), gpios);
static const struct gpio_dt_spec yellow_spec = GPIO_DT_SPEC_GET(DT_NODELABEL(led_blue), gpios);
static const struct gpio_dt_spec green_spec = GPIO_DT_SPEC_GET(DT_NODELABEL(led_green), gpios);
static const struct gpio_dt_spec extyellow_spec = GPIO_DT_SPEC_GET(DT_NODELABEL(led_yellowext), gpios);
static const struct gpio_dt_spec extambr_spec = GPIO_DT_SPEC_GET(DT_NODELABEL(led_ambrext), gpios);
static const struct gpio_dt_spec dr_dbl_spec = GPIO_DT_SPEC_GET(DT_NODELABEL(dr_dbl), gpios);


GPO* getDRDoubler()
{
    static GPO led(dr_dbl_spec); 
    return &led;
}
GPO* getRedLED()
{
    static GPO led(red_spec); 
    return &led;
}

GPO* getYellowLED()
{
    static GPO led(yellow_spec); 
    return &led;
}

GPO* getGreenLED()
{
    static GPO led(green_spec); 
    return &led;
}

GPO* getExtYellowLED()
{
    static GPO led(extyellow_spec); 
    return &led;
}

GPO* getExtAmbrLED()
{
    static GPO led(extambr_spec); 
    return &led;
}

// Реализация Си-интерфейса
extern "C" void red_led_toggle(void)
{
    GPO* led = getRedLED();
    led->toggle();
}

extern "C" void yellow_led_toggle(void)
{
    GPO* led = getYellowLED();
    led->toggle();
}

// Реализация Си-интерфейса
extern "C" void green_led_toggle(void)
{
    GPO* led = getGreenLED();
    led->toggle();
}

#include "ads1234.hpp"
#include "adc_sequencer.hpp"


static const struct gpio_dt_spec ad_mx0_spec = GPIO_DT_SPEC_GET(DT_NODELABEL(ad_mx_0), gpios);
static const struct gpio_dt_spec ad_mx1_spec = GPIO_DT_SPEC_GET(DT_NODELABEL(ad_mx_1), gpios);
static const struct gpio_dt_spec ad_g0_spec = GPIO_DT_SPEC_GET(DT_NODELABEL(ad_g_0), gpios);
static const struct gpio_dt_spec ad_g1_spec = GPIO_DT_SPEC_GET(DT_NODELABEL(ad_g_1), gpios);
static const struct gpio_dt_spec cb_mx0_spec = GPIO_DT_SPEC_GET(DT_NODELABEL(cb_mx_0), gpios);
static const struct gpio_dt_spec cb_mx1_spec = GPIO_DT_SPEC_GET(DT_NODELABEL(cb_mx_1), gpios);
static const struct gpio_dt_spec cb_en_spec = GPIO_DT_SPEC_GET(DT_NODELABEL(cb_mx_en), gpios);
static const struct gpio_dt_spec ad_speed_spec = GPIO_DT_SPEC_GET(DT_NODELABEL(ad_speed), gpios);
static const struct gpio_dt_spec ad_rst_n_spec = GPIO_DT_SPEC_GET(DT_NODELABEL(ad_rst_n), gpios);
// 1. Извлекаем спецификацию пина из Devicetree по его ноде ad_drdy
static const struct gpio_dt_spec drdy_spec = GPIO_DT_SPEC_GET(DT_NODELABEL(ad_drdy), gpios);

static const struct spi_dt_spec ad_spi_spec = SPI_DT_SPEC_GET(
    DT_NODELABEL(ads1234_spi), 
    SPI_OP_MODE_MASTER | SPI_WORD_SET(8) | SPI_MODE_CPHA, // Режим работы
    0
);

static const ControlPins adPinsCtl = {
    .adMx0   = ad_mx0_spec,
    .adMx1   = ad_mx1_spec,
    .adGn0   = ad_g0_spec,
    .adGn1   = ad_g1_spec,
    .clbMx0  = cb_mx0_spec,
    .clbMx1  = cb_mx1_spec,
    .clbMxEn = cb_en_spec, 
    .adSpeed = ad_speed_spec,
    .adReset = ad_rst_n_spec,
 //   .adDtRdy = drdy_spec,
    .adSPI = ad_spi_spec
};
// value for ad  speed pin (SPEED)
enum AD_SPEED
{
    AD_SLOW,
    AD_FAST
};
// value for ad  PGA GAIN pins (GAIN0, GAIN1)
enum AD_PGA
{
    PGA_X1,
    PGA_X2,
    PGA_X64,
    PGA_128
};
// value for ad mux pins (A0, A1)
enum AD_CHAN
{
    AD_CH_HALL_LEFT,
    AD_CH_HALL_RIGHT,
    AD_CH_HALL_CURRENT,
    AD_CH_EXT_MUX
};
//// value for MUX adress & enable pins (A0, A1, EN)
enum EXT_MUX_CAHNS
{
//enable pin = 0
    EXT_MUX_OFF = 0,
//Enable pin = 1    
    EXT_MUX_TEMP = 4,
    EXT_MUX_ZERO = 5,
    EXT_MUX_MINUS = 6,
    EXT_MUX_PLUS = 7
};

AbstractADC* getFieldMeterL()
{
    static ADS1234 ad = ADS1234(&adPinsCtl, AD_CH_HALL_LEFT, PGA_X2, EXT_MUX_TEMP, AD_FAST, 2.0 );
    return (AbstractADC*) &ad;
}

AbstractADC* getFieldMeterR()
{
    static ADS1234 ad = ADS1234(&adPinsCtl, AD_CH_HALL_RIGHT, PGA_X2, EXT_MUX_TEMP, AD_FAST, 2.0 );
    return (AbstractADC*) &ad;
}

AbstractADC* getCurrentMeter()
{
    static ADS1234 ad = ADS1234(&adPinsCtl, AD_CH_HALL_CURRENT , PGA_X2, EXT_MUX_TEMP, AD_FAST, 2.0 );
    return (AbstractADC*) &ad;
}

AbstractADC* getTemperatureMeter()
{
    static ADS1234 ad = ADS1234(&adPinsCtl, AD_CH_EXT_MUX, PGA_X1, EXT_MUX_TEMP, AD_FAST, 1.0 );
    return (AbstractADC*) &ad;
}

AbstractADC* getZeroMeter()
{
    static ADS1234 ad = ADS1234(&adPinsCtl, AD_CH_EXT_MUX, PGA_X2, EXT_MUX_ZERO, AD_FAST, 2.0 );
    return (AbstractADC*) &ad;
}
AbstractADC* getRefPlusMeter()
{
    static ADS1234 ad = ADS1234(&adPinsCtl, AD_CH_EXT_MUX, PGA_X2, EXT_MUX_PLUS, AD_FAST, 2.0 );
    return (AbstractADC*) &ad;
}

AbstractADC* getRefMinusMeter()
{
    static ADS1234 ad = ADS1234(&adPinsCtl, AD_CH_EXT_MUX, PGA_X2, EXT_MUX_MINUS, AD_FAST, 2.0 );
    return (AbstractADC*) &ad;
}


static const double MGRADUS_VS_MKV = 1000.0/(1106.0 * 3.85);// hm00
AdcSequencer* getAdcSequencer()
{
    static bool isCreated = false;
    static AdcSequencer adcSqr = AdcSequencer(&drdy_spec);
    if(isCreated == false)
    {
        isCreated = true;
        printk("--------Sequencer Created----------\n");      
        adcSqr.addChan( getFieldMeterL(), HALL_SENS_L, 1, 0, 1.0);
        adcSqr.addChan( getFieldMeterR(), HALL_SENS_R, 1, 0, 1.0);
        adcSqr.addChan( getCurrentMeter(), HALL_CURRENT, 1, 0, 5.0);
        adcSqr.addChan( getTemperatureMeter(), TEMPERATURE, 2, 1106000, MGRADUS_VS_MKV);
        adcSqr.addChan(getZeroMeter(),CLB_NULL, 1, 0, 1.0);
        adcSqr.addChan(getRefPlusMeter(), CLB_PLUS, 1, 0, 1.0);
        adcSqr.addChan(getRefMinusMeter(), CLB_MINUS, 1, 0, 1.0);
    }
    else
        printk("======Sequencer ready======= \n");
    return &adcSqr;
}
// AbstractADC* getFieldMeterR();
// AbstractADC* getCurrentMeter();
// AbstractADC* getThermoMeter();
#include "console.hpp"

Console* getConsole()
{
 static Console cli = Console();
    return &cli;
}

#include "mem.hpp"
const struct device *eeprom_dev = DEVICE_DT_GET(DT_NODELABEL(eeprom_at24));
AbstractMem* getBrdEEprom()
{
    static Mem ee = Mem(eeprom_dev);
    return static_cast<AbstractMem*>(&ee);
}

#include "uni_time.hpp"
UniTime* getBrdTime()
{
    static UniTime bTm = UniTime(0x0);
    return &bTm;
}
```

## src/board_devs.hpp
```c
#pragma once

enum BRD_EEPROM_MAP
{
    BRD_ADDR_VREF = 0,
    BRD_ADDR_DESCRIPTION = 8
}; 
static const double MIN_REF_V = 400000;//uV
static const double MAX_REF_V = 600000;//uV

#ifdef __cplusplus
// Этот класс виден только в C++ коде
    class GPO; 
    GPO* getRedLED();
    GPO* getYellowLED();
    GPO* getGreenLED();
    GPO* getExtYellowLED();
    GPO* getExtAmbrLED();
    GPO* getDRDoubler();

    class AbstractADC;
    class AdcSequencer;
    class Console;

    AbstractADC* getFieldMeterL();
    AbstractADC* getFieldMeterR();
    AbstractADC* getCurrentMeter();
    AbstractADC* getTemperatureMeter();
    AdcSequencer* getAdcSequencer();
    Console* getConsole();
    // AbstractADC* getFieldMeterR();
    // AbstractADC* getCurrentMeter();
    // AbstractADC* getThermoMeter();
    AbstractADC* getZeroMeter();
    AbstractADC* getRefPlusMeter();
    AbstractADC* getRefMinusMeter();
    class AbstractMem;
    AbstractMem* getBrdEEprom();
    class UniTime;
    UniTime* getBrdTime();
#endif

#ifdef __cplusplus
extern "C"
{
#endif
    // Си-обертка, доступная везде
    void red_led_toggle(void);
    void yellow_led_toggle(void);
    void green_led_toggle(void);
#ifdef __cplusplus
}
#endif
```
